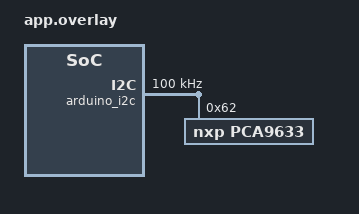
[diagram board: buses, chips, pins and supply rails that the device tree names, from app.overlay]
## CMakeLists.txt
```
# SPDX-License-Identifier: Apache-2.0

cmake_minimum_required(VERSION 3.15.7)

find_package(Zephyr REQUIRED HINTS $ENV{ZEPHYR_BASE})
project(led_pca9633)

FILE(GLOB app_sources src/*.c)
target_sources(app PRIVATE ${app_sources})
```

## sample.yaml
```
sample:
  description: Demonstration of the PCA9633 LED driver
  name: PCA9633 sample
tests:
  sample.drivers.led.pca9633:
    depends_on: arduino_i2c
    tags: LED
```

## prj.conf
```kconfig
CONFIG_LOG=y

CONFIG_I2C=y

CONFIG_LED=y
CONFIG_PCA_COMMON=y
```

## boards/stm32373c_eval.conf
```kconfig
CONFIG_I2C_1=y
```

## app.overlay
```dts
/* SPDX-License-Identifier: Apache-2.0 */

&arduino_i2c {
	status = "okay";
	clock-frequency = <I2C_BITRATE_STANDARD>;

	pca9633@62 {
		compatible = "nxp,pca9633";
		reg = <0x62>;
		label = "PCA9633";
	};
};
```

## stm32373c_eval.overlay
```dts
/* SPDX-License-Identifier: Apache-2.0 */

&i2c1 {
	status = "ok";
	clock-frequency = <I2C_BITRATE_STANDARD>;

	pca9633@62 {
		compatible = "nxp,pca9633";
		reg = <0x62>;
		label = "PCA9633";
	};
};
```

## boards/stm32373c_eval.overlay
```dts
/* SPDX-License-Identifier: Apache-2.0 */

&i2c1 {
	status = "okay";
	clock-frequency = <I2C_BITRATE_STANDARD>;

	pca9633@62 {
		compatible = "nxp,pca9633";
		reg = <0x62>;
		label = "PCA9633";
	};
};
```

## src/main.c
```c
/*
 * Copyright (c) 2018 Savoir-Faire Linux.
 *
 * SPDX-License-Identifier: Apache-2.0
 */

#include <zephyr/device.h>
#include <errno.h>
#include <zephyr/drivers/led.h>
#include <zephyr/sys/util.h>
#include <zephyr/kernel.h>

#define LOG_LEVEL CONFIG_LOG_DEFAULT_LEVEL
#include <zephyr/logging/log.h>
LOG_MODULE_REGISTER(main);

#define NUM_LEDS 4
#define MAX_BRIGHTNESS 100
#define HALF_BRIGHTNESS (MAX_BRIGHTNESS / 2)
#define BLINK_DELAY_ON 500
#define BLINK_DELAY_OFF 500
#define DELAY_TIME_MS 1000
#define DELAY_TIME K_MSEC(DELAY_TIME_MS)

void main(void)
{
	const struct device *const led_dev = DEVICE_DT_GET_ONE_OR_NULL(nxp_pca9633);
	int i, ret;

	if (!led_dev) {
		LOG_ERR("No devices with compatible nxp,pca9633 found");
		return;
	} else if (!device_is_ready(led_dev)) {
		LOG_ERR("LED device %s is not ready", led_dev->name);
		return;
	} else {
		LOG_INF("Found LED device %s", led_dev->name);
	}

	LOG_INF("Testing leds");

	while (1) {
		/* Turn on LEDs one by one */
		for (i = 0; i < NUM_LEDS; i++) {
			ret = led_on(led_dev, i);
			if (ret < 0) {
				return;
			}

			k_sleep(DELAY_TIME);
		}

		/* Turn off LEDs one by one */
		for (i = 0; i < NUM_LEDS; i++) {
			ret = led_off(led_dev, i);
			if (ret < 0) {
				return;
			}

			k_sleep(DELAY_TIME);
		}

		/* Set the brightness to half max of LEDs one by one */
		for (i = 0; i < NUM_LEDS; i++) {
			ret = led_set_brightness(led_dev, i, HALF_BRIGHTNESS);
			if (ret < 0) {
				return;
			}

			k_sleep(DELAY_TIME);
		}

		/* Turn off LEDs one by one */
		for (i = 0; i < NUM_LEDS; i++) {
			ret = led_off(led_dev, i);
			if (ret < 0) {
				return;
			}

			k_sleep(DELAY_TIME);
		}

		/* Test the blinking of LEDs one by one */
		for (i = 0; i < NUM_LEDS; i++) {
			ret = led_blink(led_dev, i, BLINK_DELAY_ON,
					BLINK_DELAY_OFF);
			if (ret < 0) {
				return;
			}

			k_sleep(DELAY_TIME);
		}

		/* Wait a few blinking before turning off the LEDs */
		k_msleep(DELAY_TIME_MS * 10);

		/* Turn off LEDs one by one */
		for (i = 0; i < NUM_LEDS; i++) {
			ret = led_off(led_dev, i);
			if (ret < 0) {
				return;
			}

			k_sleep(DELAY_TIME);
		}

	}
}
```
